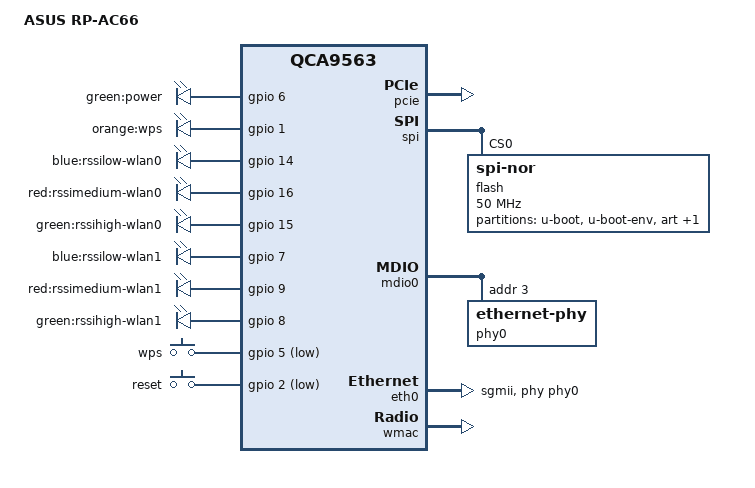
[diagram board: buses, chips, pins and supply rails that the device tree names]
// SPDX-License-Identifier: GPL-2.0-or-later OR MIT

#include "qca956x.dtsi"

#include <dt-bindings/gpio/gpio.h>
#include <dt-bindings/input/input.h>
#include <dt-bindings/leds/common.h>

/ {
	model = "ASUS RP-AC66";
	compatible = "asus,rp-ac66", "qca,qca9563";

	aliases {
		led-boot = &led_orange;
		led-failsafe = &led_orange;
		led-running = &led_power;
		led-upgrade = &led_orange;
		label-mac-device = &eth0;
	};

	leds {
		compatible = "gpio-leds";

		led_power: power {
			label = "green:power";
			gpios = <&gpio 6 GPIO_ACTIVE_HIGH>;
		};

		led_orange: wps {
			label = "orange:wps";
			gpios = <&gpio 1 GPIO_ACTIVE_HIGH>;
		};

		rssilow-wlan0 {
			label = "blue:rssilow-wlan0";
			gpios = <&gpio 14 GPIO_ACTIVE_HIGH>;
		};

		rssimedium-wlan0 {
			label = "red:rssimedium-wlan0";
			gpios = <&gpio 16 GPIO_ACTIVE_HIGH>;
		};

		rssihigh-wlan0 {
			label = "green:rssihigh-wlan0";
			gpios = <&gpio 15 GPIO_ACTIVE_HIGH>;
		};

		rssilow-wlan1 {
			label = "blue:rssilow-wlan1";
			gpios = <&gpio 7 GPIO_ACTIVE_HIGH>;
		};

		rssimedium-wlan1 {
			label = "red:rssimedium-wlan1";
			gpios = <&gpio 9 GPIO_ACTIVE_HIGH>;
		};

		rssihigh-wlan1 {
			label = "green:rssihigh-wlan1";
			gpios = <&gpio 8 GPIO_ACTIVE_HIGH>;
		};
	};

	keys {
		compatible = "gpio-keys";

		wps {
			linux,code = <KEY_WPS_BUTTON>;
			gpios = <&gpio 5 GPIO_ACTIVE_LOW>;
			debounce-interval = <60>;
		};

		reset {
			linux,code = <KEY_RESTART>;
			gpios = <&gpio 2 GPIO_ACTIVE_LOW>;
			debounce-interval = <60>;
		};
	};
};

&pcie {
	status = "okay";
};

&spi {
	status = "okay";

	flash@0 {
		compatible = "jedec,spi-nor";
		reg = <0>;
		spi-max-frequency = <50000000>;

		partitions {
			compatible = "fixed-partitions";
			#address-cells = <1>;
			#size-cells = <1>;

			partition@0 {
				label = "u-boot";
				reg = <0x000000 0x40000>;
				read-only;
			};

			partition@40000 {
				label = "u-boot-env";
				reg = <0x040000 0x10000>;
				read-only;
			};

			art: partition@50000 {
				label = "art";
				reg = <0x050000 0x10000>;
				read-only;

				compatible = "nvmem-cells";
				#address-cells = <1>;
				#size-cells = <1>;

				macaddr_art_1002: macaddr@1002 {
					reg = <0x1002 0x6>;
				};
			};

			partition@60000 {
				compatible = "denx,uimage";
				label = "firmware";
				reg = <0x060000 0xfa0000>;
			};
		};
	};
};

&mdio0 {
	status = "okay";

	phy-mask = <0>;

	phy0: ethernet-phy@3 {
		reg = <0x3>;
		phy-mode = "sgmii";
		qca,mib-poll-interval = <500>;
	};
};

&eth0 {
	status = "okay";

	phy-mode = "sgmii";
	nvmem-cells = <&macaddr_art_1002>;
	nvmem-cell-names = "mac-address";
	phy-handle = <&phy0>;
};

&wmac {
	status = "okay";

	qca,no-eeprom;
};
